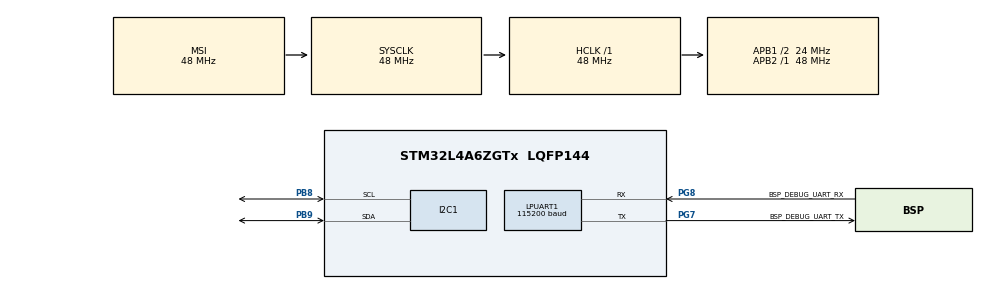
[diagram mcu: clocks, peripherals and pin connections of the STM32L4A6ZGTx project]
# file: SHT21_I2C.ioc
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I2C1.Timing=0x00506682
LPUART1.BaudRate=115200
LPUART1.WordLength=UART_WORDLENGTH_8B
Mcu.Family=STM32L4
Mcu.Name=STM32L4A6ZGTx
Mcu.Package=LQFP144
NVIC.PriorityGroup=NVIC_PRIORITYGROUP_4
PB8.Mode=I2C
PB8.Signal=I2C1_SCL
PB9.Mode=I2C
PB9.Signal=I2C1_SDA
PC14-OSC32_IN\ (PC14).Mode=LSE-External-Oscillator
PC14-OSC32_IN\ (PC14).Signal=RCC_OSC32_IN
PC15-OSC32_OUT\ (PC15).Mode=LSE-External-Oscillator
PC15-OSC32_OUT\ (PC15).Signal=RCC_OSC32_OUT
PG7.GPIO_Label=BSP_DEBUG_UART_TX
PG7.Mode=Asynchronous
PG7.Signal=LPUART1_TX
PG8.GPIO_Label=BSP_DEBUG_UART_RX
PG8.Mode=Asynchronous
PG8.Signal=LPUART1_RX
ProjectManager.HeapSize=0x200
ProjectManager.StackSize=0x400
ProjectManager.TargetToolchain=STM32CubeIDE
RCC.ADCFreq_Value=192000000
RCC.AHBFreq_Value=48000000
RCC.APB1CLKDivider=RCC_HCLK_DIV2
RCC.APB1Freq_Value=24000000
RCC.APB1TimFreq_Value=48000000
RCC.APB2Freq_Value=48000000
RCC.APB2TimFreq_Value=48000000
RCC.CortexFreq_Value=48000000
RCC.HCLKFreq_Value=48000000
RCC.HSE_VALUE=8000000
RCC.HSI48_VALUE=48000000
RCC.HSI_VALUE=16000000
RCC.MSIAutoCalibration=DISABLED
RCC.MSIClockRange=RCC_MSIRANGE_11
RCC.MSI_VALUE=48000000
RCC.SYSCLKFreq_VALUE=48000000
RCC.USBFreq_Value=192000000
RCC.VCOOutputFreq_Value=384000000
board=NUCLEO-L4A6ZG

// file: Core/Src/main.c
/* USER CODE BEGIN Header */
/**
  ******************************************************************************
  * @file           : main.c
  * @brief          : Main program body
  ******************************************************************************
  * @attention
  *
  * Copyright (c) 2024 STMicroelectronics.
  * All rights reserved.
  *
  * This software is licensed under terms that can be found in the LICENSE file
  * in the root directory of this software component.
  * If no LICENSE file comes with this software, it is provided AS-IS.
  *
  ******************************************************************************
  */
/* USER CODE END Header */
#include "main.h"

/* USER CODE BEGIN Includes */
#include "sht2x_for_stm32_hal.h"
#include <string.h>
#include <stdio.h>
/* USER CODE END Includes */

I2C_HandleTypeDef hi2c1;

UART_HandleTypeDef hlpuart1;

void SystemClock_Config(void);
static void MX_GPIO_Init(void);
static void MX_I2C1_Init(void);
static void MX_LPUART1_UART_Init(void);
/* USER CODE BEGIN PFP */
void I2C_Scanner(void);
/* USER CODE END PFP */

int main(void)
{

  /* MCU Configuration--------------------------------------------------------*/

  /* Reset of all peripherals, Initializes the Flash interface and the Systick. */
  HAL_Init();

  /* Configure the system clock */
  SystemClock_Config();

  /* Initialize all configured peripherals */
  MX_GPIO_Init();
  MX_I2C1_Init();
  MX_LPUART1_UART_Init();
  /* USER CODE BEGIN 2 */
  I2C_Scanner();

	/* Initializes SHT2x temperature/humidity sensor and sets the resolution. */
	SHT2x_Init(&hi2c1);
	SHT2x_SetResolution(RES_14_12);
  /* USER CODE END 2 */

  /* Infinite loop */
  /* USER CODE BEGIN WHILE */
  while (1)
  {
		unsigned char buffer[100] = { 0 };
		/* Gets current temperature & relative humidity. */
		float cel = SHT2x_GetTemperature(1);
		/* Converts temperature to degrees Fahrenheit and Kelvin */
		float fah = SHT2x_CelsiusToFahrenheit(cel);
		float kel = SHT2x_CelsiusToKelvin(cel);
		float rh = SHT2x_GetRelativeHumidity(1);
		/* May show warning below. Ignore and proceed. */
		sprintf(buffer,
				"Temperature: %d.%d \xC2\xB0 C, %d.%d \xC2\xB0 F, %d.%d K, Humidity: %d.%d%% RH\n",
				SHT2x_GetInteger(cel), SHT2x_GetDecimal(cel, 1),
				SHT2x_GetInteger(fah), SHT2x_GetDecimal(fah, 1),
				SHT2x_GetInteger(kel), SHT2x_GetDecimal(kel, 1),
				SHT2x_GetInteger(rh), SHT2x_GetDecimal(rh, 1));
		HAL_UART_Transmit(&hlpuart1, buffer, strlen(buffer), 1000);
		HAL_Delay(1000);
    /* USER CODE END WHILE */

  }
}

void SystemClock_Config(void)
{
  RCC_OscInitTypeDef RCC_OscInitStruct = {0};
  RCC_ClkInitTypeDef RCC_ClkInitStruct = {0};

  /** Configure the main internal regulator output voltage
  */
  if (HAL_PWREx_ControlVoltageScaling(PWR_REGULATOR_VOLTAGE_SCALE1) != HAL_OK)
  {
    Error_Handler();
  }

  /** Initializes the RCC Oscillators according to the specified parameters
  * in the RCC_OscInitTypeDef structure.
  */
  RCC_OscInitStruct.OscillatorType = RCC_OSCILLATORTYPE_MSI;
  RCC_OscInitStruct.MSIState = RCC_MSI_ON;
  RCC_OscInitStruct.MSICalibrationValue = 0;
  RCC_OscInitStruct.MSIClockRange = RCC_MSIRANGE_11;
  RCC_OscInitStruct.PLL.PLLState = RCC_PLL_NONE;
  if (HAL_RCC_OscConfig(&RCC_OscInitStruct) != HAL_OK)
  {
    Error_Handler();
  }

  /** Initializes the CPU, AHB and APB buses clocks
  */
  RCC_ClkInitStruct.ClockType = RCC_CLOCKTYPE_HCLK|RCC_CLOCKTYPE_SYSCLK
                              |RCC_CLOCKTYPE_PCLK1|RCC_CLOCKTYPE_PCLK2;
  RCC_ClkInitStruct.SYSCLKSource = RCC_SYSCLKSOURCE_MSI;
  RCC_ClkInitStruct.AHBCLKDivider = RCC_SYSCLK_DIV1;
  RCC_ClkInitStruct.APB1CLKDivider = RCC_HCLK_DIV2;
  RCC_ClkInitStruct.APB2CLKDivider = RCC_HCLK_DIV1;

  if (HAL_RCC_ClockConfig(&RCC_ClkInitStruct, FLASH_LATENCY_2) != HAL_OK)
  {
    Error_Handler();
  }
}

static void MX_I2C1_Init(void)
{

  hi2c1.Instance = I2C1;
  hi2c1.Init.Timing = 0x00506682;
  hi2c1.Init.OwnAddress1 = 0;
  hi2c1.Init.AddressingMode = I2C_ADDRESSINGMODE_7BIT;
  hi2c1.Init.DualAddressMode = I2C_DUALADDRESS_DISABLE;
  hi2c1.Init.OwnAddress2 = 0;
  hi2c1.Init.OwnAddress2Masks = I2C_OA2_NOMASK;
  hi2c1.Init.GeneralCallMode = I2C_GENERALCALL_DISABLE;
  hi2c1.Init.NoStretchMode = I2C_NOSTRETCH_DISABLE;
  if (HAL_I2C_Init(&hi2c1) != HAL_OK)
  {
    Error_Handler();
  }

  /** Configure Analogue filter
  */
  if (HAL_I2CEx_ConfigAnalogFilter(&hi2c1, I2C_ANALOGFILTER_ENABLE) != HAL_OK)
  {
    Error_Handler();
  }

  /** Configure Digital filter
  */
  if (HAL_I2CEx_ConfigDigitalFilter(&hi2c1, 0) != HAL_OK)
  {
    Error_Handler();
  }

}

static void MX_LPUART1_UART_Init(void)
{

  hlpuart1.Instance = LPUART1;
  hlpuart1.Init.BaudRate = 115200;
  hlpuart1.Init.WordLength = UART_WORDLENGTH_8B;
  hlpuart1.Init.StopBits = UART_STOPBITS_1;
  hlpuart1.Init.Parity = UART_PARITY_NONE;
  hlpuart1.Init.Mode = UART_MODE_TX_RX;
  hlpuart1.Init.HwFlowCtl = UART_HWCONTROL_NONE;
  hlpuart1.Init.OneBitSampling = UART_ONE_BIT_SAMPLE_DISABLE;
  hlpuart1.AdvancedInit.AdvFeatureInit = UART_ADVFEATURE_NO_INIT;
  if (HAL_UART_Init(&hlpuart1) != HAL_OK)
  {
    Error_Handler();
  }

}

static void MX_GPIO_Init(void)
{

  /* GPIO Ports Clock Enable */
  __HAL_RCC_GPIOC_CLK_ENABLE();
  __HAL_RCC_GPIOG_CLK_ENABLE();
  HAL_PWREx_EnableVddIO2();
  __HAL_RCC_GPIOB_CLK_ENABLE();

}

/* USER CODE BEGIN 4 */

void I2C_Scanner(void)
{
	printf("\r\n");

	 	printf("Scanning I2C bus:\r\n");
		HAL_StatusTypeDef result;
	 	uint8_t i;
	 	for (i=1; i<128; i++)
	 	{
	 	  /*
	 	   * the HAL wants a left aligned i2c address
	 	   * &hi2c1 is the handle
	 	   * (uint16_t)(i<<1) is the i2c address left aligned
	 	   * retries 2
	 	   * timeout 2
	 	   */
	 	  result = HAL_I2C_IsDeviceReady(&hi2c1, (uint16_t)(i<<1), 2, 2);
	 	  if (result != HAL_OK) // HAL_ERROR or HAL_BUSY or HAL_TIMEOUT
	 	  {
	 		  printf("."); // No ACK received at that address
	 	  }
	 	  if (result == HAL_OK)
	 	  {
	 		  printf("\r\nSlave Address: 0x%X\r\n", i); // Received an ACK at that address
	 	  }
	 	}
	 	printf("\r\n");
}
/* USER CODE END 4 */

void Error_Handler(void)
{
  __disable_irq();
  while (1)
  {
  }
}
